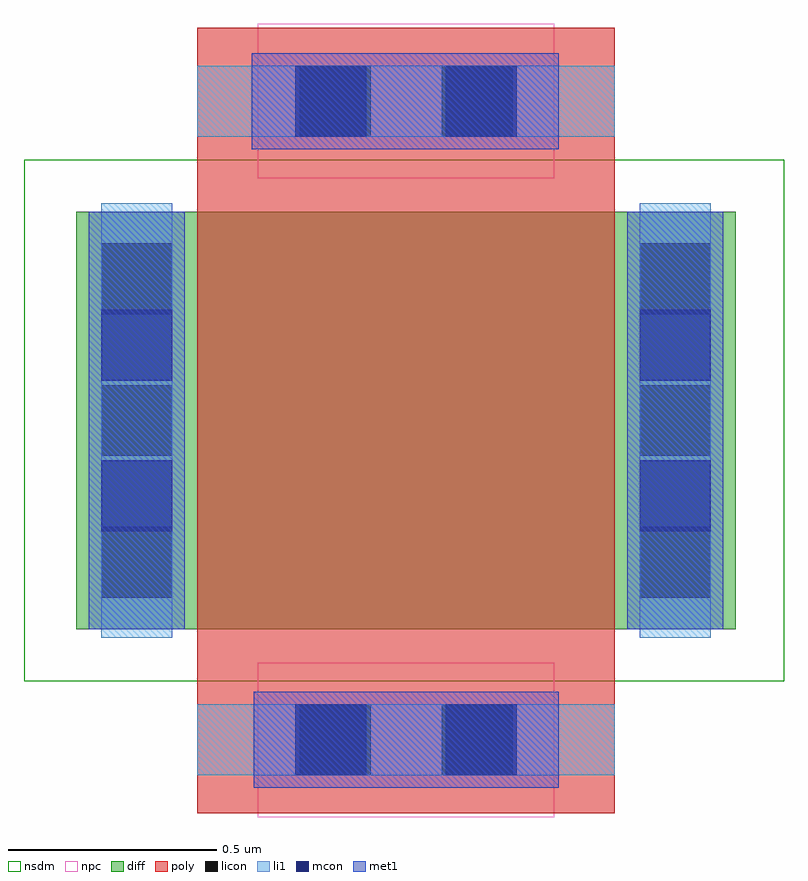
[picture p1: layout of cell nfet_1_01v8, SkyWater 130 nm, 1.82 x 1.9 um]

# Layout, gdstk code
import gdstk
lib = gdstk.Library(unit=1e-6, precision=1e-09)
def R(c, l, rs):  # rectangles x0, y0, x1, y1
    for r in rs: c.add(gdstk.rectangle(r[:2], r[2:], *l))
diff = (65, 20)
poly = (66, 20)
licon = (66, 44)
li1 = (67, 20)
mcon = (67, 44)
met1 = (68, 20)
nsdm = (93, 44)
npc = (95, 20)

nfet_1_01v8 = lib.new_cell('nfet_1_01v8')
R(nfet_1_01v8, diff, [(0.125,0.45,1.705,1.45)])
R(nfet_1_01v8, poly, [(0.415,0.01,1.415,1.89), (0.415,0.01,1.415,1.89)])
R(nfet_1_01v8, licon, [(0.66,0.1,0.83,0.27), (0.66,0.1,0.83,0.27), (1,0.1,1.17,0.27), (1,0.1,1.17,0.27), (0.185,0.525,0.355,0.695), (0.185,0.525,0.355,0.695), (1.475,0.525,1.645,0.695), (1.475,0.525,1.645,0.695), (0.185,0.865,0.355,1.035), (0.185,0.865,0.355,1.035), (1.475,0.865,1.645,1.035), (1.475,0.865,1.645,1.035), (0.185,1.205,0.355,1.375), (0.185,1.205,0.355,1.375), (1.475,1.205,1.645,1.375), (1.475,1.205,1.645,1.375), (0.66,1.63,0.83,1.8), (0.66,1.63,0.83,1.8), (1,1.63,1.17,1.8), (1,1.63,1.17,1.8)])
R(nfet_1_01v8, li1, [(0.415,0.1,1.415,0.27), (0.415,0.1,1.415,0.27), (0.185,0.43,0.355,1.47), (0.185,0.43,0.355,1.47), (1.475,0.43,1.645,1.47), (1.475,0.43,1.645,1.47), (0.415,1.63,1.415,1.8), (0.415,1.63,1.415,1.8)])
R(nfet_1_01v8, mcon, [(0.65,0.1,0.82,0.27), (0.65,0.1,0.82,0.27), (1.01,0.1,1.18,0.27), (1.01,0.1,1.18,0.27), (0.185,0.685,0.355,0.855), (0.185,0.685,0.355,0.855), (1.475,0.685,1.645,0.855), (1.475,0.685,1.645,0.855), (0.185,1.045,0.355,1.215), (0.185,1.045,0.355,1.215), (1.475,1.045,1.645,1.215), (1.475,1.045,1.645,1.215), (0.65,1.63,0.82,1.8), (0.65,1.63,0.82,1.8), (1.01,1.63,1.18,1.8), (1.01,1.63,1.18,1.8)])
R(nfet_1_01v8, met1, [(0.55,0.07,1.28,0.3), (0.55,0.07,1.28,0.3), (0.155,0.45,0.385,1.45), (0.155,0.45,0.385,1.45), (1.445,0.45,1.675,1.45), (1.445,0.45,1.675,1.45), (0.545,1.6,1.28,1.83), (0.545,1.6,1.28,1.83)])
R(nfet_1_01v8, nsdm, [(0,0.325,1.82,1.575)])
R(nfet_1_01v8, npc, [(0.56,0,1.27,0.37), (0.56,0,1.27,0.37), (0.56,1.53,1.27,1.9), (0.56,1.53,1.27,1.9)])

lib.write_gds('nfet_1_01v8.gds')
